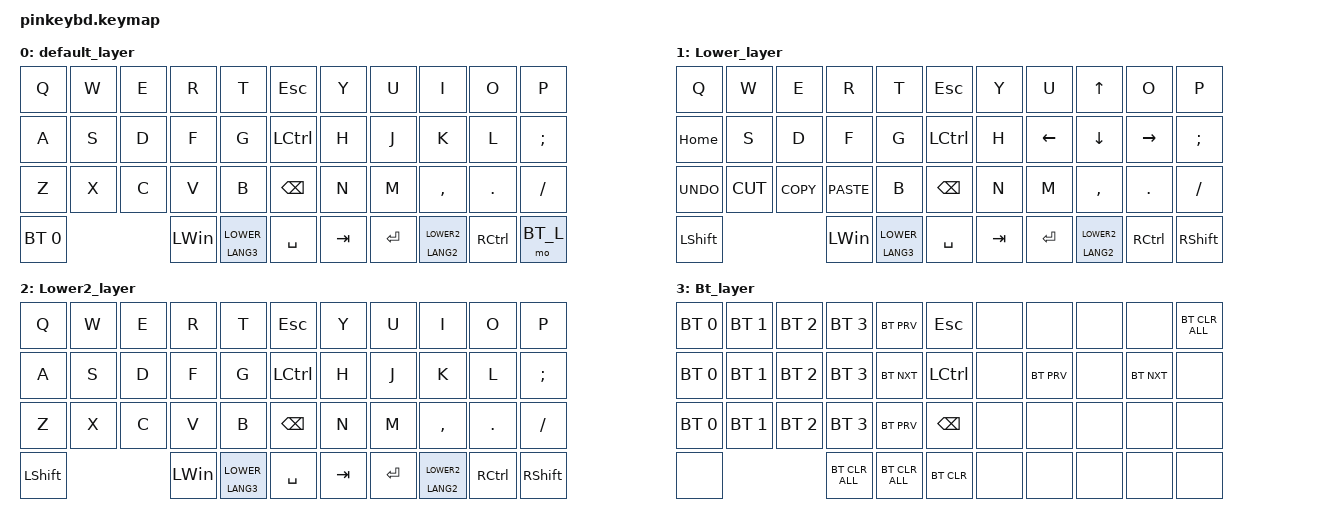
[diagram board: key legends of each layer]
#include <behaviors.dtsi>
#include <dt-bindings/zmk/bt.h>
#include "pinkeybd-layer.dtsi"

/ {
    keymap {
        compatible = "zmk,keymap";

        default_layer {
            // -----------------------------------------------------------------------------------------------------------------------------------------------------------------------------------------------
            // |     Q      |      W     |      E     |     R     |       T        |     ESC     |                |            |        Y        |      U      |      I      |     O      |      P      |
            // |     A      |      S     |      D     |     F     |       G        |    LCTRL    |                |            |        H        |      J      |      K      |     L      |      ;      |
            // |     Z      |      X     |      C     |     V     |       B        |    BSPC     |                |    TAB     |        N        |      M      |      ,      |     .      |      /      |
            // | Shift_Left |            |            |    ALT    |Cmd(En) or LOWER|    Space    |                |   ENTER    |Cmd(Ja) or LOWER2|     Ctrl    |             |            | Shift_Right |
            // -----------------------------------------------------------------------------------------------------------------------------------------------------------------------------------------------
            bindings = <
                &kp Q       &kp W       &kp E       &kp R           &kp T       &kp ESC     &kp Y   &kp U       &kp I               &kp O       &kp P
                &kp A       &kp S       &kp D       &kp F           &kp G       &kp LCTRL   &kp H   &kp J       &kp K               &kp L       &kp SEMI
                &kp Z       &kp X       &kp C       &kp V           &kp B       &kp BSPC    &kp N   &kp M       &kp COMMA           &kp DOT     &kp FSLH
                &bt BT_SEL 0                            &kp LWIN    &mt LANG3 LOWER &kp SPACE   &kp TAB &kp ENTER   &mt LANG2 LOWER2    &kp RCTRL   &mo BT_L
            >;
        };
        
        Lower_layer {
            bindings = <
                &kp Q       &kp W       &kp E       &kp R           &kp T       &kp ESC     &kp Y   &kp U               &kp UP_ARROW        &kp O           &kp P
                &kp HOME    &kp S       &kp D       &kp F           &kp G       &kp LCTRL   &kp H   &kp LEFT_ARROW      &kp DOWN_ARROW      &kp RIGHT_ARROW &kp SEMI
                &kp K_UNDO  &kp K_CUT   &kp K_COPY  &kp K_PASTE     &kp B       &kp BSPC    &kp N   &kp M               &kp COMMA           &kp DOT         &kp FSLH
                &kp LSHIFT                          &kp LWIN    &mt LANG3 LOWER &kp SPACE   &kp TAB &kp ENTER           &mt LANG2 LOWER2    &kp RCTRL       &kp RSHIFT
            >;
        };

        Lower2_layer {
            bindings = <
                &kp Q       &kp W     &kp E         &kp R           &kp T       &kp ESC    &kp Y   &kp U               &kp I               &kp O           &kp P
                &kp A       &kp S     &kp D         &kp F           &kp G       &kp LCTRL  &kp H   &kp J               &kp K               &kp L           &kp SEMI
                &kp Z       &kp X     &kp C         &kp V           &kp B       &kp BSPC   &kp N   &kp M               &kp COMMA           &kp DOT         &kp FSLH
                &kp LSHIFT                          &kp LWIN    &mt LANG3 LOWER &kp SPACE  &kp TAB &kp ENTER           &mt LANG2 LOWER2    &kp RCTRL       &kp RSHIFT
            >;
        };

        Bt_layer {
            bindings = <
                &bt BT_SEL 0    &bt BT_SEL 1 &bt BT_SEL 2 &bt BT_SEL 3  &bt BT_PRV  &kp ESC     &none       &none       &none       &none           &bt BT_CLR_ALL
                &bt BT_SEL 0    &bt BT_SEL 1 &bt BT_SEL 2 &bt BT_SEL 3  &bt BT_NXT  &kp LCTRL   &none       &bt BT_PRV  &none       &bt BT_NXT      &none
                &bt BT_SEL 0    &bt BT_SEL 1 &bt BT_SEL 2 &bt BT_SEL 3  &bt BT_PRV  &kp BSPC    &none       &none       &none       &none           &none
                &none                                     &bt BT_CLR_ALL &bt BT_CLR_ALL &bt BT_CLR       &none       &none       &none       &none           &none
            >;
        };
    };
};
